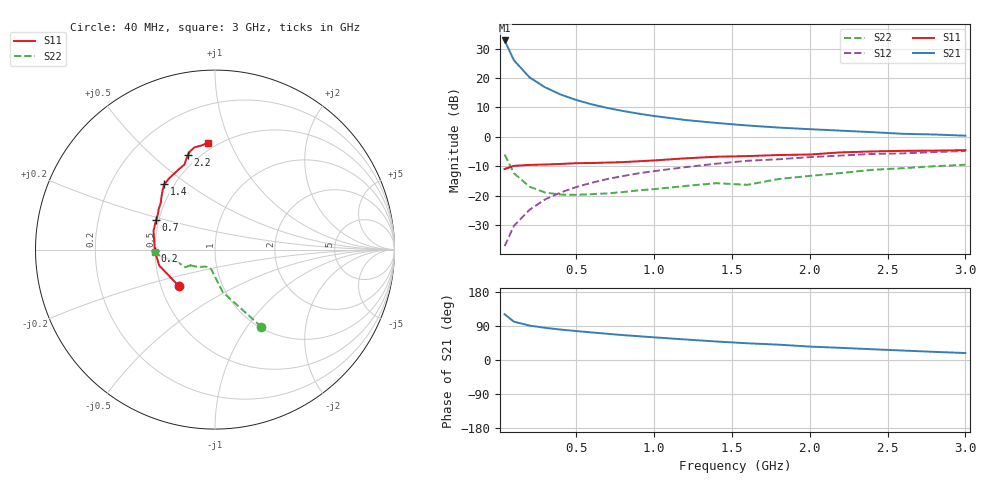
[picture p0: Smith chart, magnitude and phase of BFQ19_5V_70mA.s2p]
! Filename:  BFQ19D.S2P  Version:  2.0
! Philips part #: BFQ19  Date: Jul 1990
! Bias condition: Vce=5V, Ic=70mA
#  MHz  S  MA  R  50
! Freq  S11  S21  S12  S22  !GUM [dB]
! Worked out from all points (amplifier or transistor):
!   21 points, 40 MHz to 3 GHz, reference 50 ohm
!   highest |S21| = 32.7 dB at 40 MHz (marker M1)
!   |S21| within 3 dB of that: start of sweep to 66.73 MHz
!   unconditionally stable (mu >= 1): 164.1 MHz to 1.223 GHz
!   at 300 MHz: K = 1.02, MAG = 18.1 dB, |S12| = -21.2 dB
!   at 1 GHz: K = 1.02, MAG = 8.5 dB, |S12| = -11.6 dB
!   at 3 GHz: K = 0.93, MSG = 2.6 dB, |S12| = -4.8 dB
!   S11 on the Smith chart (normalised r, x): 40 MHz: 0.62, -0.27; 200 MHz: 0.50, -0.01; 700 MHz: 0.48, +0.18; 1.4 GHz: 0.44, +0.41; 2.2 GHz: 0.44, +0.65; 3 GHz: 0.45, +0.83
40  0.286 -135.3  43.37 120.8  0.014 72.7  0.503 -59.0
100  0.323 -164.0  19.97 101.0  0.031 78.0  0.242 -79.5
200  0.335 -178.5  10.26 90.8  0.058 79.1  0.143 -91.7
300  0.34 174.0  6.95 84.9  0.087 78.6  0.114 -99.5
400  0.348 168.2  5.239 80.3  0.114 77.6  0.105 -106.1
500  0.358 162.9  4.238 76.4  0.141 75.5  0.104 -111.3
600  0.361 158.5  3.571 72.7  0.167 74.4  0.107 -116.1
700  0.367 153.2  3.103 69.2  0.193 72.4  0.11 -120.7
800  0.374 148.3  2.757 65.7  0.217 70.5  0.116 -124.3
900  0.386 144.4  2.484 62.8  0.241 68.7  0.124 -129.4
1000  0.399 139.3  2.265 59.8  0.263 67.1  0.13 -133.0
1200  0.433 132.9  1.94 54.2  0.307 63.9  0.147 -140.4
1400  0.461 127.9  1.727 48.8  0.351 60.8  0.164 -148.0
1600  0.473 122.4  1.564 44.1  0.394 57.6  0.154 -146.6
1800  0.493 113.5  1.441 40.5  0.418 55.4  0.193 -149.4
2000  0.503 109.8  1.353 35.4  0.454 52.3  0.218 -161.0
2200  0.547 106.2  1.278 32.1  0.483 49.7  0.244 -164.7
2400  0.567 103.9  1.205 28.4  0.514 47.2  0.276 -169.7
2600  0.581 101.3  1.129 24.9  0.526 44.6  0.295 -173.1
2800  0.585 97.4  1.1 21.5  0.552 42.8  0.318 -174.5
3000  0.597 93.6  1.05 18.4  0.578 40.1  0.337 -178.1
